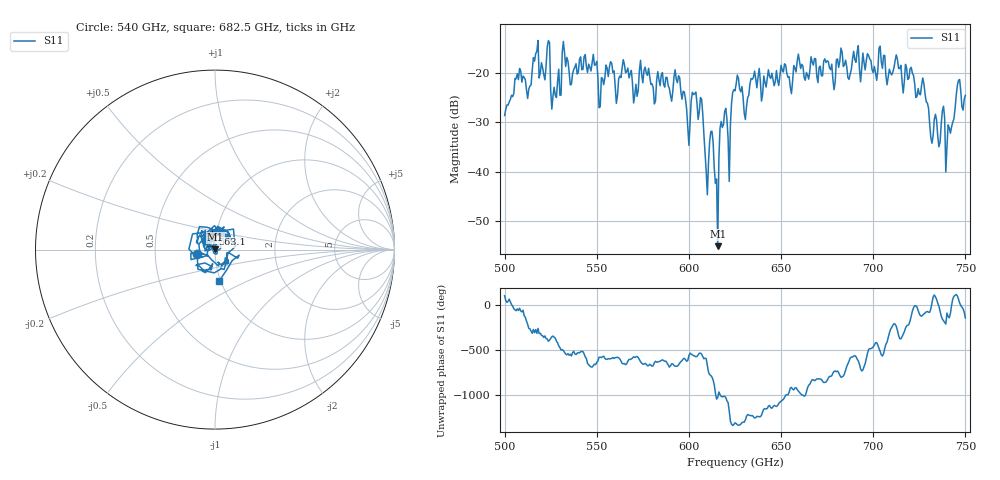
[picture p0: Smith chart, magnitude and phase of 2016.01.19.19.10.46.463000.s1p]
!Created with skrf (http://scikit-rf.org).
# GHz S RI R 50.0
!freq ReS11 ImS11
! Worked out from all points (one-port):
!   401 points, 500 GHz to 750 GHz, reference 50 ohm
!   lowest |S11| = -55.0 dB at 615.6 GHz (marker M1), VSWR 1.00, Z = 50.1 + j0.136 ohm
!   |S11| at or under -10 dB: start of sweep to end of sweep
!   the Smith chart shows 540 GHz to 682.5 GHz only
!   S11 on the Smith chart (normalised r, x): 540 GHz: 0.82, -0.04; 563.1 GHz: 0.96, +0.17; 682.5 GHz: 0.98, -0.36
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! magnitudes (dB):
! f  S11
! 500 GHz  -28.6
! 507.5 GHz  -21.4
! 513.1 GHz  -23.3
! 516.9 GHz  -16.1
! 523.8 GHz  -13.5
! 526.9 GHz  -22.9
! 531.2 GHz  -15.9
! 540 GHz  -19.9
! 562.5 GHz  -20.7
! 563.1 GHz  -21.0
! 593.8 GHz  -22.0
! 599.4 GHz  -30.8
! 606.2 GHz  -25.0
! 609.4 GHz  -39.9
! 612.5 GHz  -31.8
! 615.6 GHz  -55.0
! 618.1 GHz  -31.1
! 621.9 GHz  -41.9
! 625 GHz  -23.7
! 630.6 GHz  -29.4
! 635 GHz  -20.9
! 656.2 GHz  -21.7
! 682.5 GHz  -15.0
! 687.5 GHz  -20.2
! 718.8 GHz  -21.3
! 740.6 GHz  -30.5
! 746.2 GHz  -21.5
! 750 GHz  -24.6
